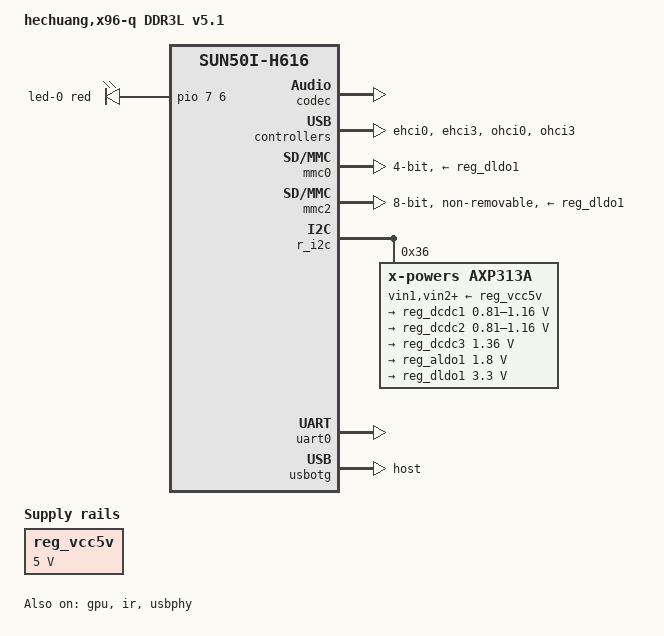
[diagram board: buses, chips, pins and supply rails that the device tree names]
// SPDX-License-Identifier: (GPL-2.0-or-later OR MIT)
/*
 * Copyright (C) 2025 J. Neuschäfer <j.ne@posteo.net>
 * Copyright (C) 2026 Piotr Oniszczuk <piotr.oniszczuk@gmail.com>
 * Copyright (C) 2026 kipz <kipz@users.noreply.github.com>
 *
 * Device tree for the hechuang X96Q DDR3L v5.1, a TV box variant that
 * shares its name and enclosure with the amediatech X96Q, but is a
 * different PCB: it uses an X-Powers AXP313a PMIC and DDR3L DRAM.
 * Regulator values are taken from the Linux kernel DTS for this board.
 */

/dts-v1/;

#include "sun50i-h616.dtsi"
#include "sun50i-h616-cpu-opp.dtsi"

#include <dt-bindings/gpio/gpio.h>
#include <dt-bindings/interrupt-controller/arm-gic.h>
#include <dt-bindings/leds/common.h>

/ {
	model = "hechuang,x96-q DDR3L v5.1";
	compatible = "hechuang,x96-q", "allwinner,sun50i-h616";

	aliases {
		serial0 = &uart0;
	};

	chosen {
		stdout-path = "serial0:115200n8";
	};

	reg_vcc5v: vcc5v {
		/* board wide 5V supply directly from the DC input */
		compatible = "regulator-fixed";
		regulator-name = "vcc-5v";
		regulator-min-microvolt = <5000000>;
		regulator-max-microvolt = <5000000>;
		regulator-always-on;
	};

	leds {
		compatible = "gpio-leds";

		led-0 {
			color = <LED_COLOR_ID_RED>;
			gpios = <&pio 7 6 GPIO_ACTIVE_HIGH>;
			default-state = "on";
		};
	};
};

&codec {
	allwinner,audio-routing = "Line Out", "LINEOUT";
	status = "okay";
};

&cpu0 {
	cpu-supply = <&reg_dcdc2>;
};

&ehci0 {
	status = "okay";
};

&ehci3 {
	status = "okay";
};

/*
 * Ethernet is provided by the AC200 companion die (10/100 EPHY, attached
 * to EMAC1 via I2C3), and WiFi by an XRadio XR819 on MMC1. Neither is
 * supported in U-Boot.
 */

&gpu {
	mali-supply = <&reg_dcdc1>;
	status = "okay";
};

&ir {
	status = "okay";
};

&mmc0 {
	/* microSD */
	vmmc-supply = <&reg_dldo1>;
	broken-cd;
	bus-width = <4>;
	status = "okay";
};

&mmc2 {
	/* eMMC */
	vmmc-supply = <&reg_dldo1>;
	non-removable;
	cap-mmc-hw-reset;
	bus-width = <8>;
	status = "okay";
};

&ohci0 {
	status = "okay";
};

&ohci3 {
	status = "okay";
};

&r_i2c {
	status = "okay";

	axp313a: pmic@36 {
		compatible = "x-powers,axp313a";
		reg = <0x36>;
		#interrupt-cells = <1>;
		interrupt-controller;

		vin1-supply = <&reg_vcc5v>;
		vin2-supply = <&reg_vcc5v>;
		vin3-supply = <&reg_vcc5v>;

		regulators {
			reg_dcdc1: dcdc1 {
				regulator-always-on;
				regulator-min-microvolt = <810000>;
				regulator-max-microvolt = <1160000>;
				regulator-name = "vdd-gpu";
			};

			reg_dcdc2: dcdc2 {
				regulator-always-on;
				regulator-min-microvolt = <810000>;
				regulator-max-microvolt = <1160000>;
				regulator-name = "vdd-cpu";
			};

			reg_dcdc3: dcdc3 {
				regulator-always-on;
				regulator-min-microvolt = <1360000>;
				regulator-max-microvolt = <1360000>;
				regulator-name = "vdd-dram";
			};

			reg_aldo1: aldo1 {
				regulator-always-on;
				regulator-min-microvolt = <1800000>;
				regulator-max-microvolt = <1800000>;
				regulator-name = "vcc1v8";
			};

			reg_dldo1: dldo1 {
				regulator-always-on;
				regulator-min-microvolt = <3300000>;
				regulator-max-microvolt = <3300000>;
				regulator-name = "vcc3v3";
			};
		};
	};
};

&uart0 {
	pinctrl-names = "default";
	pinctrl-0 = <&uart0_ph_pins>;
	status = "okay";
};

&usbotg {
	dr_mode = "host";	/* USB A type receptacle */
	status = "okay";
};

&usbphy {
	status = "okay";
};
